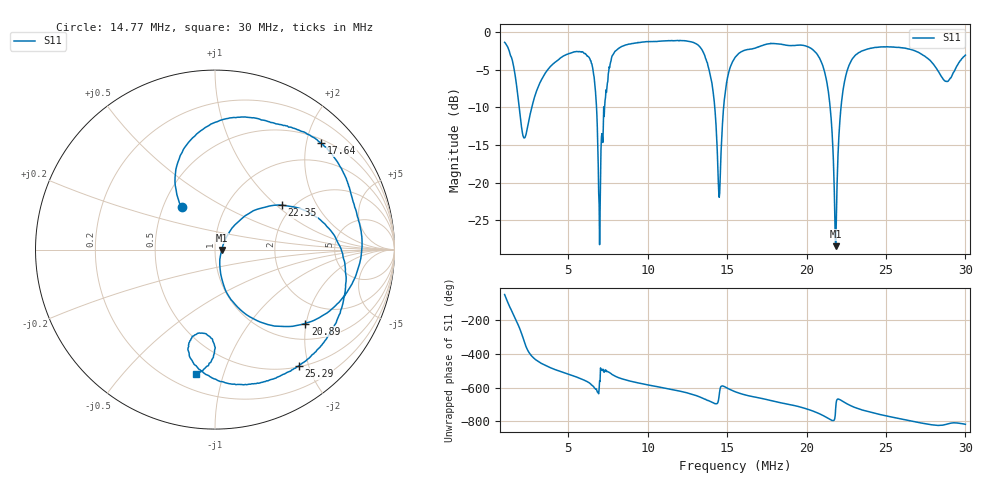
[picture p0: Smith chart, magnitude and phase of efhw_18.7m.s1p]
# HZ S RI R 50
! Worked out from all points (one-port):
!   1010 points, 1 MHz to 30 MHz, reference 50 ohm
!   lowest |S11| = -28.4 dB at 21.84 MHz (marker M1), VSWR 1.08, Z = 53.9 - j0.149 ohm
!   |S11| at or under -10 dB: 1.918 MHz to 2.709 MHz (790.8 kHz wide, 34.2 % of centre); 14.23 MHz to 14.78 MHz (555.9 kHz wide, 3.83 % of centre); 21.49 MHz to 22.17 MHz (681 kHz wide, 3.12 % of centre)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
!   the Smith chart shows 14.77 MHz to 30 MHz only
!   S11 on the Smith chart (normalised r, x): 14.77 MHz: 0.62, +0.32; 17.64 MHz: 0.58, +2.29; 20.89 MHz: 1.39, -1.98; 22.35 MHz: 1.76, +1.09; 25.29 MHz: 0.52, -1.84; 30 MHz: 0.30, -0.81
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1000000  0.5823 -0.6271
1229928  -0.1454 -0.7674
1459856  -0.5612 -0.3568
1919712  -0.147 0.279
2609496  0.2131 -0.1904
3500467  -0.1418 -0.5029
4650107  -0.5891 -0.3559
5742265  -0.7387 0.0697
6432049  -0.4921 0.4175
7006869  -0.0584 0.0248
7581689  -0.5131 -0.2908
8271473  -0.7901 0.0639
1.189284e7  -0.1715 0.8638
1.370352e7  0.4457 0.4686
1.447953e7  0.0473 0.0714
1.476694e7  -0.1864 0.2377
1.55142e7  -0.055 0.6797
1.764104e7  0.5912 0.5931
1.913557e7  0.7885 0.2062
2.088877e7  0.5034 -0.4117
2.143485e7  0.1389 -0.3329
2.183722e7  0.0379 -0.00138
2.235456e7  0.3728 0.248
2.275694e7  0.6134 0.1419
2.528614e7  0.4666 -0.6477
2.63783e7  0.1975 -0.7499
2.876381e7  -0.08 -0.4658
2.999967e7  -0.107 -0.6956
